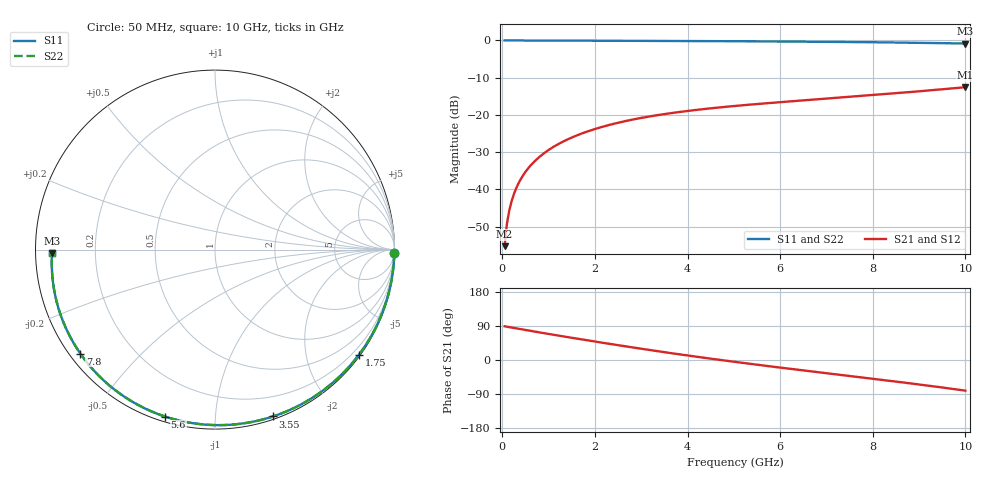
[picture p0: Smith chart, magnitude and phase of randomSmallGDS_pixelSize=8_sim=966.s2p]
! freq	dB(S11)	phase(S11)	dB(S12)	phase(S12)
!  dB(S21)	phase(S21)	dB(S22)	phase(S22)
!S-par simulation data
#  GHz  S  DB  R 50
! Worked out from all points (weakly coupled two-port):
!   200 points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, 50 MHz to 10 GHz, reference 50 ohm
!   highest |S21| = -12.56 dB at 10 GHz (marker M1); lowest = -55.2 dB at 50 MHz (marker M2)
!   lowest |S11| = -0.8 dB at 10 GHz (marker M3), VSWR 20.71, Z = 2.41 - j0.547 ohm
!   |S11| at or under -10 dB: nowhere
!   |S22| runs from -0.8 to 0.0 dB; largest |S21 - S12| = 0
!   S11 on the Smith chart (normalised r, x): 50 MHz: open; 1.75 GHz: 0.04, -3.06; 3.55 GHz: 0.02, -1.41; 5.6 GHz: 0.02, -0.74; 7.8 GHz: 0.03, -0.34; 10 GHz: 0.05, -0.01
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0.05  -0.01 -1.1  -55.24 88.9  -55.24 88.9  -0.01 -1.1
0.1  -0.01 -2.1  -49.22 87.8  -49.22 87.8  -0.01 -2.1
0.15  -0.01 -3.2  -45.70 86.7  -45.70 86.7  -0.01 -3.2
0.2  -0.01 -4.2  -43.20 85.7  -43.20 85.7  -0.01 -4.2
0.25  -0.01 -5.3  -41.27 84.6  -41.27 84.6  -0.01 -5.3
0.35  -0.01 -7.4  -38.36 82.4  -38.36 82.4  -0.01 -7.4
0.5  -0.01 -10.5  -35.29 79.2  -35.29 79.2  -0.01 -10.5
0.7  -0.02 -14.7  -32.42 75.0  -32.42 75.0  -0.02 -14.7
1  -0.03 -20.9  -29.41 68.8  -29.41 68.8  -0.03 -20.9
1.35  -0.04 -28.1  -26.93 61.7  -26.93 61.7  -0.04 -28.1
1.75  -0.06 -36.2  -24.83 53.7  -24.83 53.7  -0.06 -36.2
2.6  -0.10 -52.9  -21.82 37.2  -21.82 37.2  -0.10 -52.9
3.4  -0.13 -68.1  -19.97 22.4  -19.97 22.4  -0.13 -68.1
3.55  -0.14 -70.9  -19.68 19.8  -19.68 19.8  -0.14 -70.9
4.3  -0.18 -84.4  -18.50 6.9  -18.50 6.9  -0.18 -84.4
5.05  -0.22 -97.4  -17.56 -5.4  -17.56 -5.4  -0.22 -97.4
5.6  -0.26 -106.7  -16.97 -14.0  -16.97 -14.0  -0.26 -106.7
6.7  -0.35 -124.7  -15.92 -30.4  -15.92 -30.4  -0.35 -124.7
7.8  -0.46 -142.3  -14.88 -46.5  -14.88 -46.5  -0.46 -142.3
8.35  -0.54 -151.2  -14.33 -54.7  -14.33 -54.7  -0.54 -151.2
9.2  -0.68 -165.1  -13.44 -67.7  -13.44 -67.7  -0.68 -165.1
10  -0.84 -178.7  -12.56 -80.8  -12.56 -80.8  -0.84 -178.7
